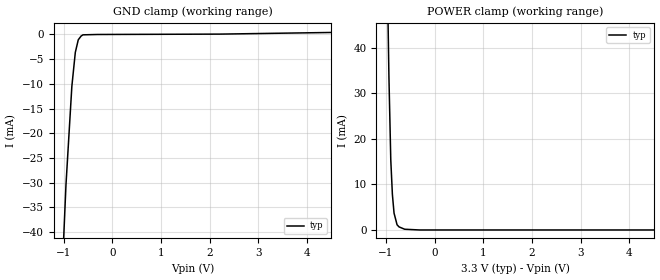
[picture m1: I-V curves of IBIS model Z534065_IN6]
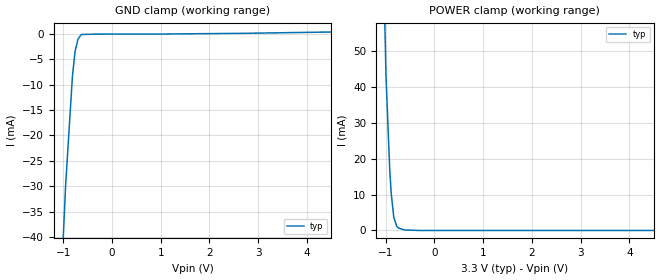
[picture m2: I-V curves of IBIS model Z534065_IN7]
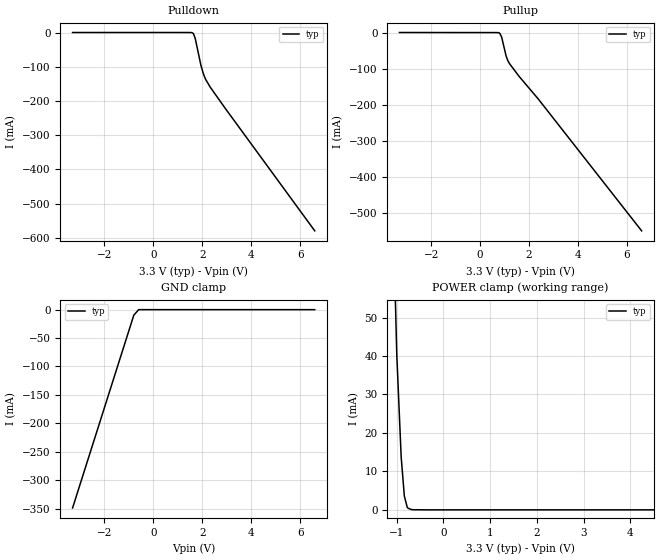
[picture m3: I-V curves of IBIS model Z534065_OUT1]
| YOU ARE ONLY AUTHORIZED TO USE THIS SOFTWARE
| ACCORDING TO LICENSOR'S LICENSE RESTRICTIONS.
[IBIS Ver] 3.1
[File Name] mc100lvel11d_33.ibs
[File Rev] 3
[Source] Measured and created by ICX Technology
[Date] 2/7/2003
[Copyright]
| (C) COPYRIGHT 1993-2000
| MENTOR GRAPHICS CORPORATION
| ICX STANDARD LIBRARY, ICX PROJECT MODELING,
| ICX CUSTOM MODELING, ICX VENDOR MODEL
| ALL RIGHTS RESERVED.
| THE FOLLOWING ARE TRADEMARKS OR SERVICE MARKS OF
| MENTOR GRAPHICS CORPORATION:ICX (R), ICX STANDARD
| LIBRARY(R), ICX PROJECT MODELING(R), ICX CUSTOM
| MODELING(R), qualityIBIS(TM), MODELVIEWER(TM),
| AND MODELEDITOR(TM)
| ALL COPIES OF SOFTWARE, INCLUDING BUT NOT LIMITED TO
| ANY MODIFICATIONS, ENHANCEMENTS OR DERIVATIVE WORKS,
| MUST CONTAIN ALL MENTOR GRAPHICS CORPORATION'S
| NOTICES AND LEGENDS, INCLUDING THOSE EMBEDDED IN
| SOFTWARE AND THOSE AFFIXED TO SOFTWARE MEDIUM
| AND CONTAINER, AS RECEIVED FROM MENTOR GRAPHICS
| CORPORATION.
|  ZAP Model Builder 2.7
[Component] MC100LVEL11D_33
[Manufacturer] OnSemiconductor
[Package]
| variable   typ   min   max
R_pkg  .152ohms NA NA
L_pkg  2.714nH NA NA
C_pkg  .364pF NA NA
[Pin] signal_name  model_name  R_pin  L_pin C_pin
1 Q0 Z534065_OUT1 .154 2.924n .374p
2 _Q0 Z534065_OUT2 .15 2.504n .354p
3 Q1 Z534065_OUT3 .15 2.504n .354p
4 _Q1 Z534065_OUT4 .154 2.924n .374p
5 VEE POWER .154 2.924n .374p
6 _D Z534065_IN6 .15 2.504n .354p
7 D Z534065_IN7 .15 2.504n .354p
8 VCC POWER .154 2.924n .374p
| Models and submodels in the file (6): Z534065_IN6 (Input_ECL), Z534065_IN7 (Input_ECL), Z534065_OUT1 (Output_ECL), Z534065_OUT2 (Output_ECL), Z534065_OUT3 (Output_ECL), Z534065_OUT4 (Output_ECL)
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| (C) COPYRIGHT 1993-2000
| MENTOR GRAPHICS CORPORATION
| ICX STANDARD LIBRARY, ICX PROJECT MODELING,
| ICX CUSTOM MODELING, ICX VENDOR MODEL
| ALL RIGHTS RESERVED.
| THE FOLLOWING ARE TRADEMARKS OR SERVICE MARKS OF
| MENTOR GRAPHICS CORPORATION:ICX (R), ICX STANDARD
| LIBRARY(R), ICX PROJECT MODELING(R), ICX CUSTOM
| MODELING(R), qualityIBIS(TM), MODELVIEWER(TM),
| AND MODELEDITOR(TM)
| ALL COPIES OF SOFTWARE, INCLUDING BUT NOT LIMITED TO
| ANY MODIFICATIONS, ENHANCEMENTS OR DERIVATIVE WORKS,
| MUST CONTAIN ALL MENTOR GRAPHICS CORPORATION'S
| NOTICES AND LEGENDS, INCLUDING THOSE EMBEDDED IN
| SOFTWARE AND THOSE AFFIXED TO SOFTWARE MEDIUM
| AND CONTAINER, AS RECEIVED FROM MENTOR GRAPHICS
| CORPORATION.
| Model Application Version 1.89 2/18/99.
[Model] Z534065_IN6
Model_type Input_ECL
Vinl = 1.825V
Vinh = 2.135V
C_comp 2.000pF NA NA
| variable typ   min   max
[Voltage Range] 3.300V NA NA
[GND Clamp Reference] 0.000V NA NA
[POWER Clamp Reference] 3.300V NA NA
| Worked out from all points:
|   GND clamp passes 1 mA (typ) near -0.69 V on its own axis
|   POWER clamp passes 1 mA (typ) near -0.76 V on its own axis
[GND Clamp]
-3.3V     -673.9mA   NA         NA
-1.128V   -70.84mA   NA         NA
-950.5mV  -30.44mA   NA         NA
-829.7mV  -10.52mA   NA         NA
-758.5mV  -3.634mA   NA         NA
-697.7mV  -1.088mA   NA         NA
-639.5mV  -330.5uA   NA         NA
-600.5mV  -86.11uA   NA         NA
-300.2mV  -15.62uA   NA         NA
2.207V    60.23uA    NA         NA
6.6V      697.8uA    NA         NA
[POWER Clamp]
-3.3V     2.126A     NA         NA
-1.176V   189.6mA    NA         NA
-941mV    33.55mA    NA         NA
-903mV    15.36mA    NA         NA
-870mV    7.814mA    NA         NA
-836mV    3.699mA    NA         NA
-774mV    1.144mA    NA         NA
-734mV    679.6uA    NA         NA
-618mV    161.1uA    NA         NA
-309mV    0A         NA         NA
6.6V      0A         NA         NA
| (C) COPYRIGHT 1993-2000
| MENTOR GRAPHICS CORPORATION
| ICX STANDARD LIBRARY, ICX PROJECT MODELING,
| ICX CUSTOM MODELING, ICX VENDOR MODEL
| ALL RIGHTS RESERVED.
| THE FOLLOWING ARE TRADEMARKS OR SERVICE MARKS OF
| MENTOR GRAPHICS CORPORATION:ICX (R), ICX STANDARD
| LIBRARY(R), ICX PROJECT MODELING(R), ICX CUSTOM
| MODELING(R), qualityIBIS(TM), MODELVIEWER(TM),
| AND MODELEDITOR(TM)
| ALL COPIES OF SOFTWARE, INCLUDING BUT NOT LIMITED TO
| ANY MODIFICATIONS, ENHANCEMENTS OR DERIVATIVE WORKS,
| MUST CONTAIN ALL MENTOR GRAPHICS CORPORATION'S
| NOTICES AND LEGENDS, INCLUDING THOSE EMBEDDED IN
| SOFTWARE AND THOSE AFFIXED TO SOFTWARE MEDIUM
| AND CONTAINER, AS RECEIVED FROM MENTOR GRAPHICS
| CORPORATION.
| Model Application Version 1.89 2/18/99.
[Model] Z534065_IN7
Model_type Input_ECL
Vinl = 1.825V
Vinh = 2.135V
C_comp 1.000pF NA NA
| variable typ   min   max
[Voltage Range] 3.300V NA NA
[GND Clamp Reference] 0.000V NA NA
[POWER Clamp Reference] 3.300V NA NA
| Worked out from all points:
|   GND clamp passes 1 mA (typ) near -0.70 V on its own axis
|   POWER clamp passes 1 mA (typ) near -0.76 V on its own axis
[GND Clamp]
-3.3V     -642.5mA   NA         NA
-1.147V   -71.33mA   NA         NA
-951.6mV  -29.82mA   NA         NA
-811.6mV  -8.302mA   NA         NA
-758.6mV  -3.452mA   NA         NA
-697.8mV  -1.02mA    NA         NA
-639.6mV  -203.8uA   NA         NA
-620.2mV  -85.08uA   NA         NA
-310.1mV  -18.96uA   NA         NA
986.5mV   -6.604uA   NA         NA
2.733V    141.1uA    NA         NA
6.6V      705.2uA    NA         NA
[POWER Clamp]
-3.3V     1.894A     NA         NA
-1.128V   123mA      NA         NA
-995mV    42.88mA    NA         NA
-919mV    17.05mA    NA         NA
-888mV    10.32mA    NA         NA
-836mV    3.692mA    NA         NA
-774mV    1.127mA    NA         NA
-735mV    668.2uA    NA         NA
-618mV    144.7uA    NA         NA
-309mV    0A         NA         NA
6.6V      0A         NA         NA
| (C) COPYRIGHT 1993-2000
| MENTOR GRAPHICS CORPORATION
| ICX STANDARD LIBRARY, ICX PROJECT MODELING,
| ICX CUSTOM MODELING, ICX VENDOR MODEL
| ALL RIGHTS RESERVED.
| THE FOLLOWING ARE TRADEMARKS OR SERVICE MARKS OF
| MENTOR GRAPHICS CORPORATION:ICX (R), ICX STANDARD
| LIBRARY(R), ICX PROJECT MODELING(R), ICX CUSTOM
| MODELING(R), qualityIBIS(TM), MODELVIEWER(TM),
| AND MODELEDITOR(TM)
| ALL COPIES OF SOFTWARE, INCLUDING BUT NOT LIMITED TO
| ANY MODIFICATIONS, ENHANCEMENTS OR DERIVATIVE WORKS,
| MUST CONTAIN ALL MENTOR GRAPHICS CORPORATION'S
| NOTICES AND LEGENDS, INCLUDING THOSE EMBEDDED IN
| SOFTWARE AND THOSE AFFIXED TO SOFTWARE MEDIUM
| AND CONTAINER, AS RECEIVED FROM MENTOR GRAPHICS
| CORPORATION.
| Model Application Version 1.89 2/18/99.
[Model] Z534065_OUT1
Model_type Output_ECL
Vref=1.300V
Rref=50.00ohms
Cref=0.000F
Vmeas=1.977V
C_comp 1.000pF NA NA
| variable typ   min   max
[Voltage Range] 3.300V NA NA
[POWER Clamp Reference] 3.300V NA NA
[Pullup Reference] 3.300V NA NA
[Pulldown Reference] 3.300V NA NA
[GND Clamp Reference] 0.000V NA NA
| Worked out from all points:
|   GND clamp passes 1 mA (typ) near -0.62 V on its own axis
|   POWER clamp passes 1 mA (typ) near -0.78 V on its own axis
[GND Clamp]
-3.3V     -349.1mA   NA         NA
-796.7mV  -9.743mA   NA         NA
-597.5mV  0A         NA         NA
6.6V      0A         NA         NA
[Pulldown]
-3.3V     28.95uA    NA         NA
1.611V    -1.506mA   NA         NA
1.647V    -4.282mA   NA         NA
1.715V    -17.62mA   NA         NA
1.949V    -96.7mA    NA         NA
2.046V    -120.1mA   NA         NA
2.128V    -135.4mA   NA         NA
2.324V    -159.2mA   NA         NA
6.6V      -579.2mA   NA         NA
[Pullup]
-3.3V     248.9uA    NA         NA
710mV     -28.07uA   NA         NA
805mV     -2.303mA   NA         NA
878mV     -12.52mA   NA         NA
1.062V    -65.29mA   NA         NA
1.127V    -76.98mA   NA         NA
1.196V    -85.64mA   NA         NA
1.581V    -120.3mA   NA         NA
2.381V    -184.3mA   NA         NA
6.6V      -548.6mA   NA         NA
[POWER Clamp]
-3.3V     1.133A     NA         NA
-998mV    40.4mA     NA         NA
-904mV    13.8mA     NA         NA
-836mV    3.596mA    NA         NA
-775mV    695.5uA    NA         NA
-756mV    425.1uA    NA         NA
-697mV    117.8uA    NA         NA
-657mV    32.34uA    NA         NA
-328.5mV  0A         NA         NA
6.6V      0A         NA         NA
[Ramp]
| variable typ min max
dV/dt_r 486.1m/355.4p NA NA
dV/dt_f 486.1m/234.5p NA NA
R_load = 50.0Ohms
